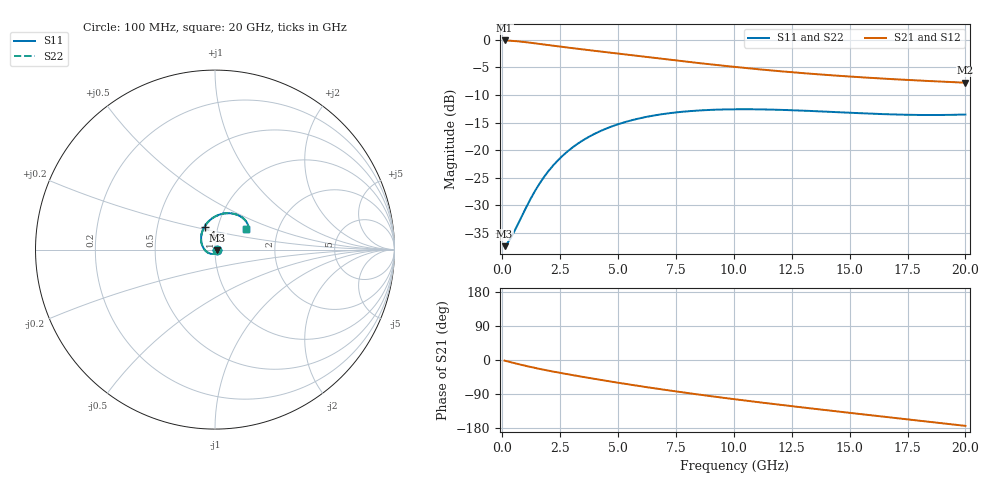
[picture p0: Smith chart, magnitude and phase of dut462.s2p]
! Touchstone file exported from HFSS 2024.1.0
!  File:  C:/UserFiles/LocalFiles/RDL_TSV_Batchsim/temp_RDL_TSV_462_1779728098.aedt
!  Generated:  01:06:40 AM May 26, 2026
!  Design:  RDL_TSV
!  Project:  temp_RDL_TSV_462_1779728098
!  Setup:  Setup1
!  Solution:  Sweep
! Variables:
!  dtsv = 14.06um
!  hbump = 3um
!  htsv = 58um
!  ldown = 677.69um
!  lrdl = 132.93um
!  p = 40
!  p1 = 47.89um
!  rhole = 10um
!  subl = 2564.79um
!  t = 450um
!  tdown = 2.42um
!  trdl = 3.52um
!  viad = 10um
!  wdown = 27.92um
!  wrdl = 25.32um
!  xbump = 18um
# GHz S MA R 50.000000
! Terminal data exported
! Port[1] = TM1_1_T1
! Port[2] = TM1_4_T1
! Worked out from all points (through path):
!   200 points, 100 MHz to 20 GHz, reference 50 ohm
!   highest |S21| = -0.12 dB at 100 MHz (marker M1); lowest = -7.8 dB at 20 GHz (marker M2)
!   group delay of S21, straight-line fit = 22.9 ps
!   lowest |S11| = -37.4 dB at 100 MHz (marker M3), VSWR 1.03, Z = 51.3 - j0.322 ohm
!   |S11| at or under -10 dB: start of sweep to end of sweep
!   |S22| runs from -37.4 to -12.6 dB; largest |S21 - S12| = 1.6e-14
!   S11 on the Smith chart (normalised r, x): 100 MHz: 1.03, -0.01; 4 GHz: 0.86, +0.23; 20 GHz: 1.38, +0.33
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0.1  0.01349 -13.4  0.9861 -1.7  0.9861 -1.7  0.01349 -13.4
! Gamma 0 0 0 0
! Port Impedance 50 0 50 0
0.2  0.01419 -27.3  0.9844 -3.3  0.9844 -3.3  0.01419 -27.3
0.4  0.01651 -55.7  0.9787 -6.4  0.9787 -6.4  0.01651 -55.7
1  0.02941 -124.7  0.9522 -15.3  0.9522 -15.3  0.02942 -124.7
1.5  0.04578 -161.7  0.9239 -22.0  0.9239 -22.0  0.04578 -161.7
1.9  0.0609 176.9  0.9006 -27.0  0.9006 -27.0  0.06092 177.0
2.2  0.07278 164.0  0.8836 -30.5  0.8836 -30.5  0.0728 164.0
2.6  0.08878 149.6  0.8619 -35.1  0.8619 -35.1  0.08881 149.6
3  0.1045 137.6  0.8413 -39.5  0.8413 -39.5  0.1046 137.6
3.5  0.1234 125.0  0.817 -44.8  0.817 -44.8  0.1235 125.0
4  0.141 114.3  0.7938 -50.0  0.7938 -50.0  0.1411 114.3
4.6  0.1602 103.4  0.767 -56.0  0.767 -56.0  0.1603 103.4
5.3  0.1796 92.5  0.7369 -62.9  0.7369 -62.9  0.1797 92.5
6.8  0.2102 74.0  0.6761 -76.8  0.6761 -76.8  0.2103 74.0
8.4  0.2282 59.3  0.6183 -90.5  0.6183 -90.5  0.2283 59.4
10.1  0.2346 47.9  0.5661 -104.0  0.5661 -104.0  0.2347 47.9
11.7  0.2328 40.1  0.5257 -116.0  0.5257 -116.0  0.2329 40.2
13.4  0.2261 34.7  0.4909 -128.2  0.4909 -128.2  0.2261 34.7
15  0.2183 31.8  0.4646 -139.4  0.4646 -139.4  0.2183 31.8
16.7  0.2112 30.9  0.4419 -151.2  0.4419 -151.2  0.2112 31.0
18.3  0.2081 31.7  0.4243 -162.2  0.4243 -162.2  0.2081 31.8
20  0.2103 33.5  0.4085 -173.9  0.4085 -173.9  0.2103 33.6
